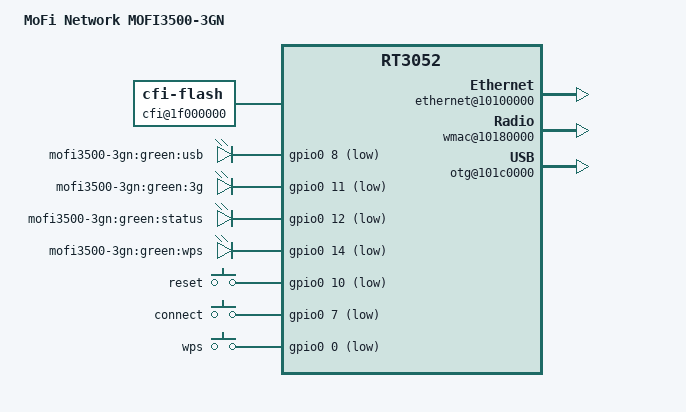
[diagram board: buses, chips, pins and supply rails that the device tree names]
/dts-v1/;

/include/ "rt3050.dtsi"

/ {
	#address-cells = <1>;
	#size-cells = <1>;
	compatible = "MOFI3500-3GN", "ralink,rt3052-soc";
	model = "MoFi Network MOFI3500-3GN";

	memorydetect {
		ralink,memory = <0x0 0x200000 0x4000000>;
	};

	chosen {
		bootargs = "console=ttyS0,57600 mtdparts=1f000000.cfi:192k(u-boot)ro,64k(u-boot-env)ro,64k(factory)ro,7872k@0x50000(firmware)";
	};

	palmbus@10000000 {
		sysc@0 {
			ralink,pinmmux = "i2c", "spi", "uartlite", "jtag", "sdram", "rgmii";
			ralink,gpiommux = "mdio";
			ralink,uartmux = "gpio";
			ralink,wdtmux = <1>;
		};

		gpio0: gpio@600 {
			status = "okay";
		};

	};

	cfi@1f000000 {
		compatible = "cfi-flash";
		reg = <0x1f000000 0x800000>;

		bank-width = <2>;
		device-width = <2>;
		#address-cells = <1>;
		#size-cells = <1>;
	};

	ethernet@10100000 {
		status = "okay";
	};

	esw@10110000 {
		status = "okay";
		ralink,portmap = <0x2f>;
	};

	gpio-leds {
		compatible = "gpio-leds";
		usb {
			label = "mofi3500-3gn:green:usb";
			gpios = <&gpio0 8 1>;
		};
		3g {
			label = "mofi3500-3gn:green:3g";
			gpios = <&gpio0 11 1>;
		};
		status {
			label = "mofi3500-3gn:green:status";
			gpios = <&gpio0 12 1>;
		};
		wps {
			label = "mofi3500-3gn:green:wps";
			gpios = <&gpio0 14 1>;
		};
	};

	gpio-keys-polled {
		compatible = "gpio-keys-polled";
		#address-cells = <1>;
		#size-cells = <0>;
		poll-interval = <20>;
		reset {
			label = "reset";
			gpios = <&gpio0 10 1>;
			linux,code = <0x198>;
		};
		connect {
			label = "connect";
			gpios = <&gpio0 7 1>;
			linux,code = <0xda>;
		};
		wps {
			label = "wps";
			gpios = <&gpio0 0 1>;
			linux,code = <0x211>;
		};
	};

	wmac@10180000 {
		status = "okay";
	};

	otg@101c0000 {
		status = "okay";
	};
};
